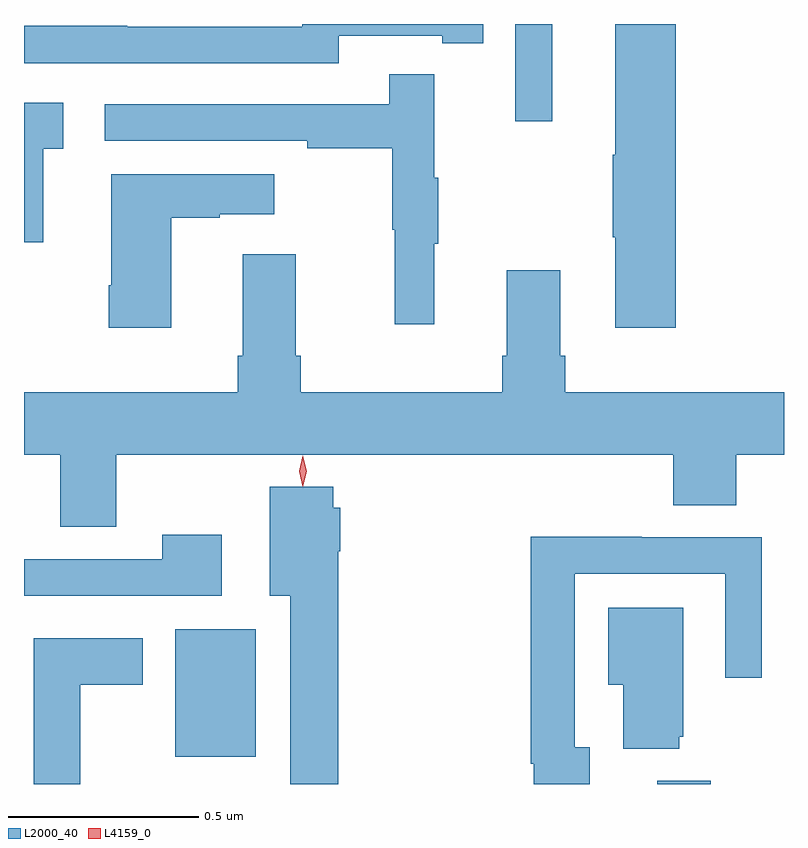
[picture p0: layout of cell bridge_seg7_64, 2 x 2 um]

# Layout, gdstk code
import gdstk
lib = gdstk.Library(unit=1e-6, precision=1e-09)
def R(c, l, rs):  # rectangles x0, y0, x1, y1
    for r in rs: c.add(gdstk.rectangle(r[:2], r[2:], *l))
def P(c, l, *ps):  # polygons
    for p in ps: c.add(gdstk.Polygon(p, *l))
L2000_40 = (2000, 40)
L4159_0 = (4159, 0)

bridge_seg7_64 = lib.new_cell('bridge_seg7_64')
R(bridge_seg7_64, L2000_40, [(893.387,1010.405,893.527,1010.413), (892.118,1010.477,892.33,1010.812), (893.013,1012.149,893.11,1012.405)])
P(bridge_seg7_64, L2000_40, [(892.548,1012.374),(892.82,1012.374),(892.82,1012.354),(892.928,1012.354),(892.928,1012.405),(892.452,1012.405),(892.452,1012.398),(891.992,1012.398),(891.992,1012.4),(891.72,1012.4),(891.72,1012.302),(892.548,1012.302)],
  [(893.435,1012.405),(893.276,1012.405),(893.276,1012.061),(893.269,1012.061),(893.269,1011.844),(893.276,1011.844),(893.276,1011.606),(893.435,1011.606)],
  [(892.799,1011.827),(892.81,1011.827),(892.81,1012.001),(892.799,1012.001),(892.799,1012.273),(892.681,1012.273),(892.681,1012.194),(891.933,1012.194),(891.933,1012.098),(892.465,1012.098),(892.465,1012.078),(892.689,1012.078),(892.689,1011.864),(892.696,1011.864),(892.696,1011.615),(892.799,1011.615)],
  [(891.77,1012.077),(891.823,1012.077),(891.823,1012.198),(891.72,1012.198),(891.72,1011.831),(891.77,1011.831)],
  [(892.108,1011.895),(892.235,1011.895),(892.235,1011.905),(892.378,1011.905),(892.378,1012.009),(891.95,1012.009),(891.95,1011.718),(891.943,1011.718),(891.943,1011.606),(892.108,1011.606)],
  [(892.991,1011.757),(892.991,1011.532),(892.979,1011.532),(892.979,1011.436),(892.448,1011.436),(892.448,1011.532),(892.435,1011.532),(892.435,1011.799),(892.295,1011.799),(892.295,1011.532),(892.283,1011.532),(892.283,1011.436),(891.72,1011.436),(891.72,1011.272),(891.815,1011.272),(891.815,1011.082),(891.963,1011.082),(891.963,1011.272),(893.429,1011.272),(893.429,1011.139),(893.594,1011.139),(893.594,1011.272),(893.72,1011.272),(893.72,1011.436),(893.144,1011.436),(893.144,1011.532),(893.131,1011.532),(893.131,1011.757)],
  [(892.547,1011.018),(892.552,1011.018),(892.552,1011.132),(892.534,1011.132),(892.534,1011.187),(892.367,1011.187),(892.367,1010.9),(892.421,1010.9),(892.421,1010.405),(892.547,1010.405)],
  [(892.24,1011.061),(892.084,1011.061),(892.084,1010.997),(891.72,1010.997),(891.72,1010.901),(892.24,1010.901)],
  [(893.209,1010.502),(893.169,1010.502),(893.169,1010.958),(893.565,1010.958),(893.565,1010.685),(893.661,1010.685),(893.661,1011.054),(893.345,1011.054),(893.345,1011.056),(893.053,1011.056),(893.053,1010.458),(893.061,1010.458),(893.061,1010.405),(893.209,1010.405)],
  [(893.444,1010.529),(893.455,1010.529),(893.455,1010.869),(893.258,1010.869),(893.258,1010.666),(893.297,1010.666),(893.297,1010.498),(893.444,1010.498)],
  [(891.868,1010.666),(892.033,1010.666),(892.033,1010.788),(891.746,1010.788),(891.746,1010.405),(891.868,1010.405)])
P(bridge_seg7_64, L4159_0, [(892.454,1011.187),(892.454,1011.187),(892.444,1011.228),(892.454,1011.269),(892.454,1011.269),(892.454,1011.269),(892.464,1011.228),(892.454,1011.187)])

lib.write_gds('bridge_seg7_64.gds')
